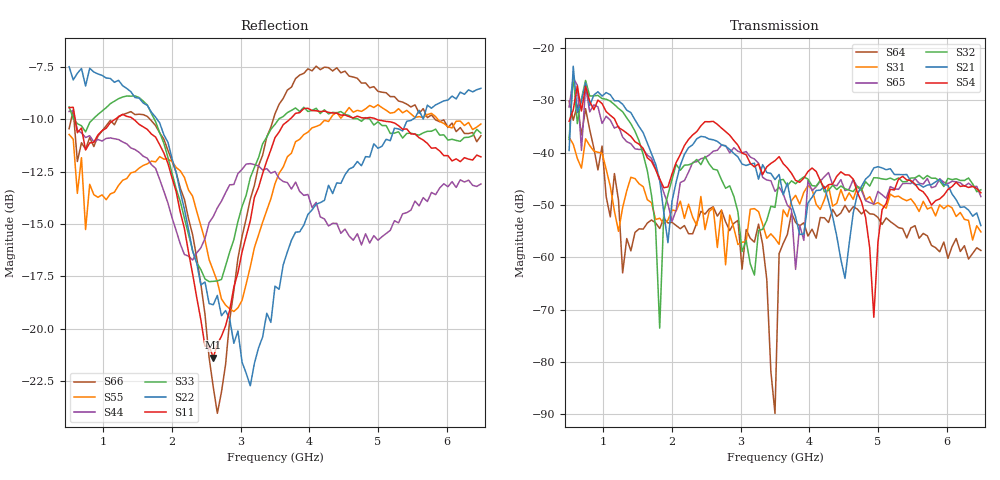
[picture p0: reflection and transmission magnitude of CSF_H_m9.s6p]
!Keysight Technologies,M9804A,MY58100912,A.14.10.03
!Date: Thursday, April 27, 2023 10:28:33
!Correction: S11(C  6-Port  )
!S12(C  6-Port  )
!S13(C  6-Port  )
!S14(C  6-Port  )
!S15(C  6-Port  )
!S16(C  6-Port  )
!S21(C  6-Port  )
!S22(C  6-Port  )
!S23(C  6-Port  )
!S24(C  6-Port  )
!S25(C  6-Port  )
!S26(C  6-Port  )
!S31(C  6-Port  )
!S32(C  6-Port  )
!S33(C  6-Port  )
!S34(C  6-Port  )
!S35(C  6-Port  )
!S36(C  6-Port  )
!S41(C  6-Port  )
!S42(C  6-Port  )
!S43(C  6-Port  )
!S44(C  6-Port  )
!S45(C  6-Port  )
!S46(C  6-Port  )
!S51(C  6-Port  )
!S52(C  6-Port  )
!S53(C  6-Port  )
!S54(C  6-Port  )
!S55(C  6-Port  )
!S56(C  6-Port  )
!S61(C  6-Port  )
!S62(C  6-Port  )
!S63(C  6-Port  )
!S64(C  6-Port  )
!S65(C  6-Port  )
!S66(C  6-Port  )
!S6P File: Measurement: :
# Hz S  RI  R 50
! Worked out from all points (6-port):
!   101 points, 500 MHz to 6.5 GHz, reference 50 ohm
!   strongest paths, dB at 500 MHz, 2 GHz, 3.5 GHz, 5 GHz, 6.5 GHz:
!     S54: -34.0, -44.1, -41.5, -57.1, -47.7
!     S21: -39.6, -49.2, -45.2, -42.7, -53.9
!     S32: -37.5, -45.1, -50.5, -44.8, -47.1
!     S65: -31.2, -53.1, -47.4, -47.4, -48.4
!     S31: -37.0, -50.9, -56.4, -49.6, -55.1
!     S64: -30.2, -53.3, -89.8, -52.4, -58.7
!   lowest |S11| = -21.4 dB at 2.6 GHz (marker M1), VSWR 1.19, Z = 42.4 + j2.19 ohm
!   |S11| at or under -10 dB: 588.5 MHz to 1.168 GHz (579.3 MHz wide, 66 % of centre); 1.44 GHz to 3.715 GHz (2.275 GHz wide, 88.3 % of centre); 4.98 GHz to end of sweep
